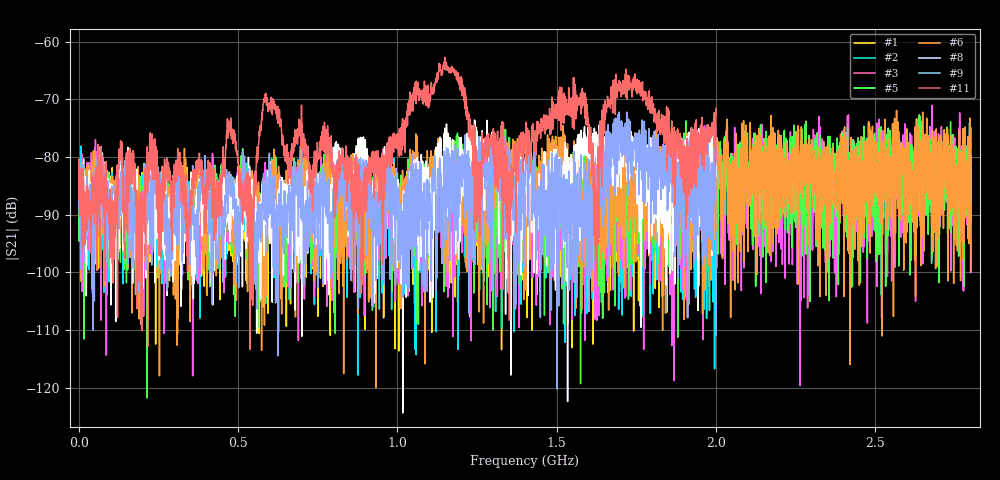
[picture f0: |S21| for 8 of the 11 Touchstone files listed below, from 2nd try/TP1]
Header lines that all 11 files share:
! Anritsu VNA Master:  Model: MS2025B
! SN:  1642059
! Existing Calibration Information:
! TYPE:  Current Settings,  Active Cal Settings
! START FREQ:  1.000 MHz,  1.000 MHz
! SOURCE POWER:  Default,  Default
! IFBW:  1 kHz,  1 kHz
! AVG FACTOR:  1 ,  1
! REF PLANE 1:  0 mm,  0 mm
! REF PLANE 2:  0 mm,  0 mm
! CAL TYPE:  1P2P S11,S21,  1P2P S11,S21
! CAL METHOD:  SOLT,  SOLT
! CAL LINE TYPE:  Coax,  Coax
! DUT PORT 1:  ,
! DUT PORT 2:  N-Conn(M),  N-Conn(M)
! CAL STATUS:  OK: Accuracy High,  --
# GHZ S MA R 50.0
! FREQ.GHZ  S11M  S11A  S21M  S21A  S12M  S12A  S22M  S22A
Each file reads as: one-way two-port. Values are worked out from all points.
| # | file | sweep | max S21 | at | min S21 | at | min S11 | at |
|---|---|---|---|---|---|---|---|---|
| 1 | CoaxOC.s2p | 1 MHz to 1.999 GHz | -75.78 dB | 1.953 GHz | -113.6 dB | 1.005 GHz | -2.7 dB | 1.869 GHz |
| 2 | CoaxSC.s2p | 1 MHz to 1.999 GHz | -74.98 dB | 1.925 GHz | -117.8 dB | 875.7 MHz | -2.9 dB | 1.958 GHz |
| 3 | FileName_49.s2p | 1 MHz to 2.8 GHz | -71.04 dB | 2.678 GHz | -119.6 dB | 2.264 GHz | -0.3 dB | 2.721 GHz |
| 4 | GCPW_OC.s2p | 1 MHz to 1.999 GHz | -63.90 dB | 1.995 GHz | -116.7 dB | 341.1 MHz | -4.7 dB | 1.82 GHz |
| 5 | MSLine1.s2p | 1 MHz to 2.8 GHz | -72.68 dB | 2.638 GHz | -121.8 dB | 215.1 MHz | -46.0 dB | 2.429 GHz |
| 6 | MSLine2OC.s2p | 1 MHz to 2.8 GHz | -71.92 dB | 2.566 GHz | -120.0 dB | 932.4 MHz | -4.9 dB | 2.766 GHz |
| 7 | MSLine3SC.s2p | 1 MHz to 1.999 GHz | -72.23 dB | 1.935 GHz | -120.8 dB | 1.763 GHz | -3.7 dB | 1.988 GHz |
| 8 | MSLine3SC_1.s2p | 1 MHz to 1.999 GHz | -73.58 dB | 1.242 GHz | -124.3 dB | 1.017 GHz | -3.7 dB | 1.988 GHz |
| 9 | MSLine3SC_2.s2p | 1 MHz to 1.999 GHz | -72.22 dB | 1.696 GHz | -120.2 dB | 1.501 GHz | -5.5 dB | 1.71 GHz |
| 10 | MSLine4SC.s2p | 1 MHz to 1.999 GHz | -72.63 dB | 1.779 GHz | -118.7 dB | 97.57 MHz | -5.5 dB | 1.71 GHz |
| 11 | WireAG.s2p | 1 MHz to 1.999 GHz | -62.72 dB | 1.149 GHz | -113.3 dB | 538.4 MHz | -2.3 dB | 1.999 GHz |
